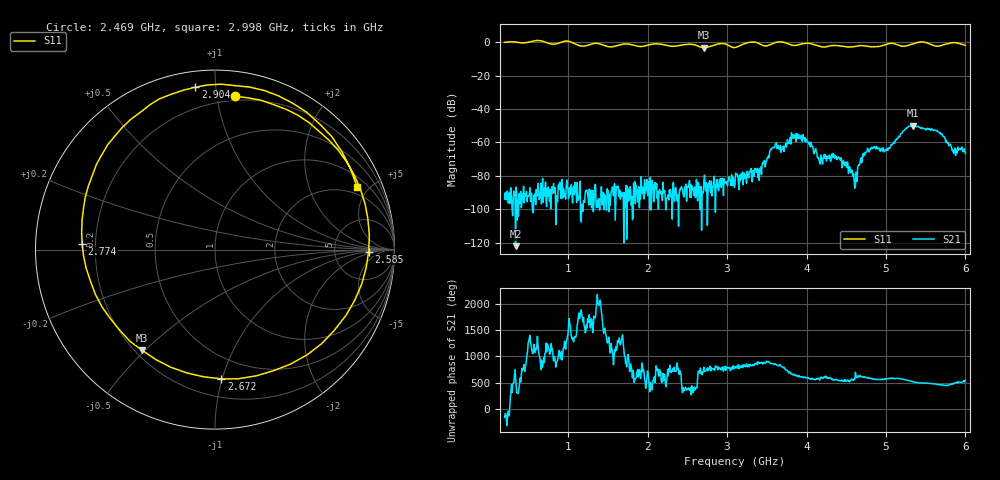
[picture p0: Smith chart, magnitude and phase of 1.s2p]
! NanoVNA-App by OneOfEleven et al v1.1.209 (+OD15)
! Date: 2024-07-30 15:09:37
! Start: 200MHz Stop: 6GHz Points: 801
! S-Parameter data: F S11 S21 S12 S22
# Hz S RI R 50
!  Frequency  S11_Real  S11_Imag  S21_Real  S21_Imag  S12_Real  S12_Imag  S22_Real  S22_Imag
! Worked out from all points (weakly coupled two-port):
!   801 points, 200 MHz to 6 GHz, reference 50 ohm
!   highest |S21| = -49.86 dB at 5.34 GHz (marker M1); lowest = -122.2 dB at 337.8 MHz (marker M2)
!   lowest |S11| = -3.2 dB at 2.708 GHz (marker M3), VSWR 5.50, Z = 11.4 - j24.5 ohm
!   |S11| at or under -10 dB: nowhere
!   S12 and S22 are empty: the file has one direction only
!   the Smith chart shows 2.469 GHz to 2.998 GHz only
!   S11 on the Smith chart (normalised r, x): 2.469 GHz: 0.17, +1.13; 2.585 GHz: 13, -1; 2.672 GHz: 0.33, -0.99; 2.774 GHz: 0.15, +0.02; 2.904 GHz: 0.08, +0.88; 2.998 GHz: 1.52, +4.22
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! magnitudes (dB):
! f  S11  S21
! 200 MHz  0.1  -94.0
! 337.8 MHz  0.2  -122.2
! 1.171 GHz  -2.2  -97.1
! 2.136 GHz  -0.9  -100.1
! 2.469 GHz  -1.3  -86.6
! 2.585 GHz  -1.3  -91.8
! 2.672 GHz  -2.8  -86.4
! 2.708 GHz  -3.2  -83.2
! 2.774 GHz  -2.6  -85.7
! 2.904 GHz  -0.8  -82.2
! 2.998 GHz  -1.3  -83.7
! 3.1 GHz  -3.0  -85.1
! 3.405 GHz  -0.7  -82.7
! 3.593 GHz  -0.3  -63.2
! 3.84 GHz  -1.8  -55.5
! 4.072 GHz  -0.9  -62.3
! 4.173 GHz  -2.4  -72.9
! 4.608 GHz  -2.5  -87.5
! 4.753 GHz  -2.3  -65.9
! 5.036 GHz  -0.7  -63.2
! 5.34 GHz  -0.9  -49.9
! 6 GHz  -1.7  -66.6
